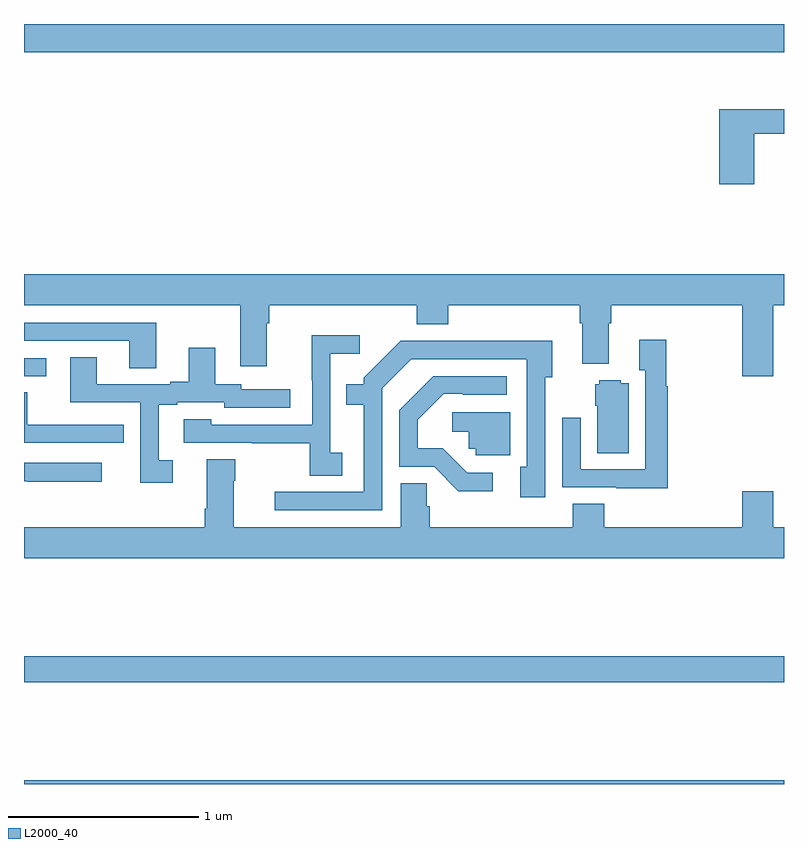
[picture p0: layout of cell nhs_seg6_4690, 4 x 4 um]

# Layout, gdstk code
import gdstk
lib = gdstk.Library(unit=1e-6, precision=1e-09)
def R(c, l, rs):  # rectangles x0, y0, x1, y1
    for r in rs: c.add(gdstk.rectangle(r[:2], r[2:], *l))
def P(c, l, *ps):  # polygons
    for p in ps: c.add(gdstk.Polygon(p, *l))
L2000_40 = (2000, 40)

nhs_seg6_4690 = lib.new_cell('nhs_seg6_4690')
R(nhs_seg6_4690, L2000_40, [(389,927.5,393,927.52), (389,928.036,393,928.172), (389,929.646,389.116,929.742), (389,931.352,393,931.5)])
P(nhs_seg6_4690, L2000_40, [(392.843,930.922),(393,930.922),(393,931.051),(392.66,931.051),(392.66,930.657),(392.843,930.657)],
  [(392.944,930.02),(393,930.02),(393,930.184),(389,930.184),(389,930.02),(390.137,930.02),(390.137,929.7),(390.277,929.7),(390.277,929.924),(390.29,929.924),(390.29,930.02),(391.067,930.02),(391.067,929.921),(391.232,929.921),(391.232,930.02),(391.925,930.02),(391.925,929.924),(391.937,929.924),(391.937,929.711),(392.077,929.711),(392.077,929.924),(392.09,929.924),(392.09,930.02),(392.78,930.02),(392.78,929.646),(392.944,929.646)],
  [(389.695,929.928),(389,929.928),(389,929.832),(389.555,929.832),(389.555,929.689),(389.695,929.689)],
  [(390.676,929.244),(390.612,929.244),(390.612,929.765),(390.766,929.765),(390.766,929.863),(390.514,929.863),(390.514,929.624),(390.516,929.624),(390.516,929.391),(389.985,929.391),(389.985,929.419),(389.841,929.419),(389.841,929.295),(390.199,929.295),(390.199,929.293),(390.504,929.293),(390.504,929.122),(390.676,929.122)],
  [(392.387,929.594),(392.38,929.594),(392.38,929.839),(392.237,929.839),(392.237,929.678),(392.271,929.678),(392.271,929.157),(391.929,929.157),(391.929,929.428),(391.833,929.428),(391.833,929.061),(392.117,929.061),(392.117,929.057),(392.387,929.057)],
  [(390.885,929.583),(391.038,929.736),(391.647,929.736),(391.647,929.17),(391.613,929.17),(391.613,929.01),(391.743,929.01),(391.743,929.642),(391.78,929.642),(391.78,929.834),(391.315,929.834),(391.315,929.832),(390.984,929.832),(390.789,929.637),(390.789,929.605),(390.697,929.605),(390.697,929.496),(390.788,929.496),(390.788,929.037),(390.321,929.037),(390.321,928.941),(390.885,928.941)],
  [(389.782,929.205),(389.71,929.205),(389.71,929.496),(389.806,929.496),(389.806,929.508),(390.054,929.508),(390.054,929.481),(390.4,929.481),(390.4,929.577),(390.144,929.577),(390.144,929.604),(390.007,929.604),(390.007,929.797),(389.867,929.797),(389.867,929.617),(389.771,929.617),(389.771,929.604),(389.383,929.604),(389.383,929.747),(389.243,929.747),(389.243,929.508),(389.613,929.508),(389.613,929.085),(389.782,929.085)],
  [(391.468,929.139),(391.332,929.139),(391.205,929.266),(391.072,929.266),(391.072,929.416),(391.209,929.553),(391.309,929.553),(391.309,929.55),(391.54,929.55),(391.54,929.646),(391.154,929.646),(390.975,929.467),(390.975,929.169),(391.158,929.169),(391.286,929.042),(391.468,929.042)],
  [(392.182,929.608),(392.142,929.608),(392.142,929.626),(392.028,929.626),(392.028,929.604),(392.006,929.604),(392.006,929.49),(392.018,929.49),(392.018,929.242),(392.182,929.242)],
  [(389.524,929.39),(389.411,929.39),(389.411,929.391),(389.016,929.391),(389.016,929.561),(389,929.561),(389,929.295),(389.524,929.295)],
  [(391.558,929.457),(391.254,929.457),(391.254,929.354),(391.341,929.354),(391.341,929.265),(391.377,929.265),(391.377,929.229),(391.558,929.229)],
  [(393,928.852),(392.944,928.852),(392.944,929.041),(392.78,929.041),(392.78,928.852),(392.054,928.852),(392.054,928.976),(391.889,928.976),(391.889,928.852),(391.136,928.852),(391.136,928.962),(391.121,928.962),(391.121,929.084),(390.983,929.084),(390.983,928.852),(390.103,928.852),(390.103,929.096),(390.111,929.096),(390.111,929.209),(389.963,929.209),(389.963,928.948),(389.951,928.948),(389.951,928.852),(389,928.852),(389,928.688),(393,928.688)],
  [(389.41,929.19),(389,929.19),(389,929.094),(389.017,929.094),(389.017,929.092),(389.41,929.092)])

lib.write_gds('nhs_seg6_4690.gds')
